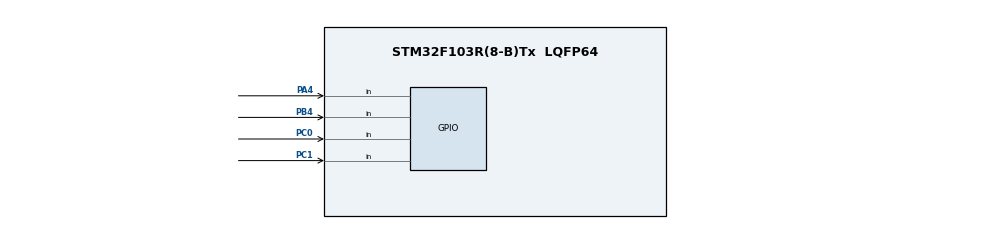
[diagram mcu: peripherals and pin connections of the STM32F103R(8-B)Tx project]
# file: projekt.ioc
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Mcu.Family=STM32F1
PC0.Signal=GPIO_Input
VP_SYS_VS_ND.Mode=No_Debug
ProjectManager.StackSize=0x400
SH.S_TIM2_CH2.0=TIM2_CH2
ProjectManager.TargetToolchain=TrueSTUDIO
PA9.Signal=USART1_TX
PA1.Signal=S_TIM2_CH2
SH.S_TIM3_CH2.0=TIM3_CH2
board=custom
RCC.APB2Freq_Value=8000000
Mcu.Name=STM32F103R(8-B)Tx
PA4.Signal=GPIO_Input
Mcu.Package=LQFP64
PB5.Signal=S_TIM3_CH2
PA10.Signal=USART1_RX
ProjectManager.HeapSize=0x200
NVIC.PriorityGroup=NVIC_PRIORITYGROUP_4
RCC.APB1Freq_Value=8000000
PC1.Signal=GPIO_Input
PB4.Signal=GPIO_Input

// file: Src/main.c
/* USER CODE BEGIN Header */
/**
  ******************************************************************************
  * @file           : main.c
  * @brief          : Main program body
  ******************************************************************************
  * @attention
  *
  * <h2><center>&copy; Copyright (c) 2020 STMicroelectronics.
  * All rights reserved.</center></h2>
  *
  * This software component is licensed by ST under BSD 3-Clause license,
  * the "License"; You may not use this file except in compliance with the
  * License. You may obtain a copy of the License at:
  *                        opensource.org/licenses/BSD-3-Clause
  *
  ******************************************************************************
  */
/* USER CODE END Header */

#include <stddef.h>
#include "stm32f10x.h"

#ifdef USE_STM3210B_EVAL
 #include "stm3210b_eval.h"
 #include "stm3210b_eval_lcd.h"
 #define USE_BOARD
 #define USE_LED
#elif defined USE_STM3210E_EVAL
 #include "stm3210e_eval.h"
 #include "stm3210e_eval_lcd.h"
 #define USE_BOARD
 #define USE_LED
#elif defined USE_STM3210C_EVAL
 #include "stm3210c_eval.h"
 #include "stm3210c_eval_lcd.h"
 #include "stm3210c_eval_i2c_ee.h"
 #define USE_BOARD
 #define USE_LED
 #define USE_SEE
#elif defined USE_STM32100B_EVAL
 #include "stm32100b_eval.h"
 #include "stm32100b_eval_lcd.h"
 #define USE_BOARD
 #define USE_LED
#elif defined USE_STM32100E_EVAL
 #include "stm32100e_eval.h"
 #include "stm32100e_eval_lcd.h"
 #include "stm32100e_eval_i2c_ee.h"
 #define USE_BOARD
 #define USE_LED
 #define USE_SEE
#elif defined USE_STM32_DISCOVERY
 #include "STM32vldiscovery.h"
#elif defined USE_IAR_STM32F103ZE
 #include "board.h"
 #define USE_LED
#elif defined USE_KEIL_MCBSTM32
 #include "board.h"
 #define USE_LED
#endif

void SystemClock_Config(void);
static void MX_GPIO_Init(void);

int main(void)
{

  /* MCU Configuration--------------------------------------------------------*/

  /* Reset of all peripherals, Initializes the Flash interface and the Systick. */
  HAL_Init();

  /* Configure the system clock */
  SystemClock_Config();

  /* Initialize all configured peripherals */
  MX_GPIO_Init();
  /* USER CODE BEGIN 2 */
  HAL_TIM_PWM_Start(&htim3,TIM_CHANNEL_1);
  HAL_TIM_PWM_Start(&htim2,TIM_CHANNEL_3);

  /* USER CODE END 2 */

  /* Infinite loop */
  /* USER CODE BEGIN WHILE */
  uint8_t buffer[20];
   while (1)
   {	buffer[0]=0;
     /* USER CODE END WHILE */
   HAL_UART_Receive(&huart1,buffer,20,100);
            switch(buffer[0])
            {
                case 'w':
                    przod(); break;
                case 's':
                    tyl(); break;
                case 'd':
                    prawo(); break;
                case 'a':
                    lewo(); break;

    /* USER CODE END WHILE */

  }
}

void SystemClock_Config(void)
{
  RCC_OscInitTypeDef RCC_OscInitStruct = {0};
  RCC_ClkInitTypeDef RCC_ClkInitStruct = {0};

  /** Initializes the CPU, AHB and APB busses clocks
  */
  RCC_OscInitStruct.OscillatorType = RCC_OSCILLATORTYPE_HSI;
  RCC_OscInitStruct.HSIState = RCC_HSI_ON;
  RCC_OscInitStruct.HSICalibrationValue = RCC_HSICALIBRATION_DEFAULT;
  RCC_OscInitStruct.PLL.PLLState = RCC_PLL_NONE;
  if (HAL_RCC_OscConfig(&RCC_OscInitStruct) != HAL_OK)
  {
    Error_Handler();
  }
  /** Initializes the CPU, AHB and APB busses clocks
  */
  RCC_ClkInitStruct.ClockType = RCC_CLOCKTYPE_HCLK|RCC_CLOCKTYPE_SYSCLK
                              |RCC_CLOCKTYPE_PCLK1|RCC_CLOCKTYPE_PCLK2;
  RCC_ClkInitStruct.SYSCLKSource = RCC_SYSCLKSOURCE_HSI;
  RCC_ClkInitStruct.AHBCLKDivider = RCC_SYSCLK_DIV1;
  RCC_ClkInitStruct.APB1CLKDivider = RCC_HCLK_DIV1;
  RCC_ClkInitStruct.APB2CLKDivider = RCC_HCLK_DIV1;

  if (HAL_RCC_ClockConfig(&RCC_ClkInitStruct, FLASH_LATENCY_0) != HAL_OK)
  {
    Error_Handler();
  }
}

static void MX_GPIO_Init(void)
{
  GPIO_InitTypeDef GPIO_InitStruct = {0};

  /* GPIO Ports Clock Enable */
  __HAL_RCC_GPIOC_CLK_ENABLE();
  __HAL_RCC_GPIOA_CLK_ENABLE();
  __HAL_RCC_GPIOB_CLK_ENABLE();

  /*Configure GPIO pins : PC0 PC1 */
  GPIO_InitStruct.Pin = GPIO_PIN_0|GPIO_PIN_1;
  GPIO_InitStruct.Mode = GPIO_MODE_INPUT;
  GPIO_InitStruct.Pull = GPIO_NOPULL;
  HAL_GPIO_Init(GPIOC, &GPIO_InitStruct);

  /*Configure GPIO pin : PA1 */
  GPIO_InitStruct.Pin = GPIO_PIN_1;
  GPIO_InitStruct.Mode = GPIO_MODE_AF_PP;
  GPIO_InitStruct.Speed = GPIO_SPEED_FREQ_LOW;
  HAL_GPIO_Init(GPIOA, &GPIO_InitStruct);

  /*Configure GPIO pin : PA4 */
  GPIO_InitStruct.Pin = GPIO_PIN_4;
  GPIO_InitStruct.Mode = GPIO_MODE_INPUT;
  GPIO_InitStruct.Pull = GPIO_NOPULL;
  HAL_GPIO_Init(GPIOA, &GPIO_InitStruct);

  /*Configure GPIO pin : PA9 */
  GPIO_InitStruct.Pin = GPIO_PIN_9;
  GPIO_InitStruct.Mode = GPIO_MODE_AF_PP;
  GPIO_InitStruct.Speed = GPIO_SPEED_FREQ_HIGH;
  HAL_GPIO_Init(GPIOA, &GPIO_InitStruct);

  /*Configure GPIO pin : PA10 */
  GPIO_InitStruct.Pin = GPIO_PIN_10;
  GPIO_InitStruct.Mode = GPIO_MODE_INPUT;
  GPIO_InitStruct.Pull = GPIO_NOPULL;
  HAL_GPIO_Init(GPIOA, &GPIO_InitStruct);

  /*Configure GPIO pin : PB4 */
  GPIO_InitStruct.Pin = GPIO_PIN_4;
  GPIO_InitStruct.Mode = GPIO_MODE_INPUT;
  GPIO_InitStruct.Pull = GPIO_NOPULL;
  HAL_GPIO_Init(GPIOB, &GPIO_InitStruct);

  /*Configure GPIO pin : PB5 */
  GPIO_InitStruct.Pin = GPIO_PIN_5;
  GPIO_InitStruct.Mode = GPIO_MODE_AF_PP;
  GPIO_InitStruct.Speed = GPIO_SPEED_FREQ_LOW;
  HAL_GPIO_Init(GPIOB, &GPIO_InitStruct);

  /*Configure peripheral I/O remapping */
  __HAL_AFIO_REMAP_TIM3_PARTIAL();

}

/* USER CODE BEGIN 4 */
void przod(void)
      {
          TIM3->CCR1 = 100;
          TIM2->CCR3 = 100;
          HAL_GPIO_WRITEPin(pster1_GPIO_Port, pster1_Pin, GPIO_PIN_SET);
          HAL_GPIO_WRITEPin(pster2_GPIO_Port, pster2_Pin, GPIO_PIN_RESET);
          HAL_GPIO_WRITEPin(lster1_GPIO_Port, lster1_Pin, GPIO_PIN_SET);
          HAL_GPIO_WRITEPin(lster2_GPIO_Port, lster2_Pin, GPIO_PIN_RESET);
      }

      void prawo(void)
      {
          TIM3->CCR1 = 500;
          TIM2->CCR3 = 100;
          HAL_GPIO_WRITEPin(pster1_GPIO_Port, pster1_Pin, GPIO_PIN_SET);
          HAL_GPIO_WRITEPin(pster2_GPIO_Port, pster2_Pin, GPIO_PIN_RESET);
          HAL_GPIO_WRITEPin(lster1_GPIO_Port, lster1_Pin, GPIO_PIN_SET);
          HAL_GPIO_WRITEPin(lster2_GPIO_Port, lster2_Pin, GPIO_PIN_RESET);
      }

      void lewo(void)
      {
          TIM3->CCR1 = 100;
          TIM2->CCR3 = 500;
          HAL_GPIO_WRITEPin(pster1_GPIO_Port, pster1_Pin, GPIO_PIN_SET);
          HAL_GPIO_WRITEPin(pster2_GPIO_Port, pster2_Pin, GPIO_PIN_RESET);
          HAL_GPIO_WRITEPin(lster1_GPIO_Port, lster1_Pin, GPIO_PIN_SET);
          HAL_GPIO_WRITEPin(lster2_GPIO_Port, lster2_Pin, GPIO_PIN_RESET);
      }

      void tyl(void)
      {
          TIM3->CCR1 = 100;
          TIM2->CCR3 = 100;
          HAL_GPIO_WRITEPin(pster1_GPIO_Port, pster1_Pin, GPIO_PIN_RESET);
          HAL_GPIO_WRITEPin(pster2_GPIO_Port, pster2_Pin, GPIO_PIN_SET);
          HAL_GPIO_WRITEPin(lster1_GPIO_Port, lster1_Pin, GPIO_PIN_RESET);
          HAL_GPIO_WRITEPin(lster2_GPIO_Port, lster2_Pin, GPIO_PIN_SET);
      }

/* USER CODE END 4 */

void Error_Handler(void)
{
}

/************************ (C) COPYRIGHT STMicroelectronics *****END OF FILE****/
